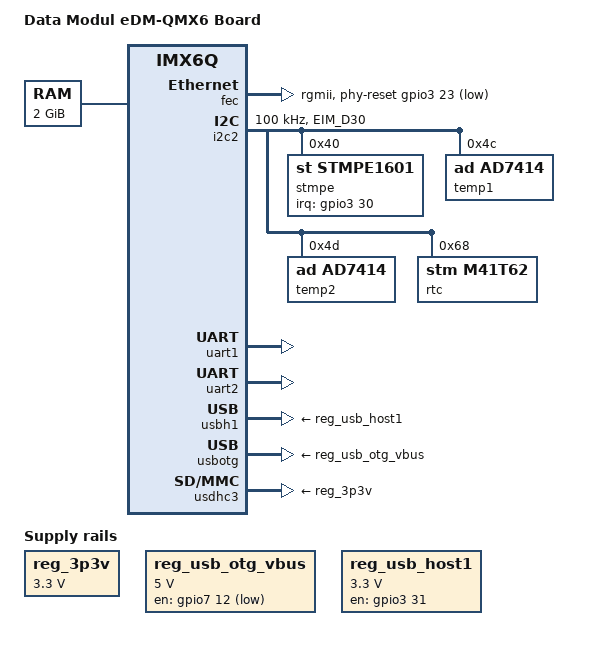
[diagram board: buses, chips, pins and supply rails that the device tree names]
/*
 * Copyright 2013 Data Modul AG
 *
 * The code contained herein is licensed under the GNU General Public
 * License. You may obtain a copy of the GNU General Public License
 * Version 2 or later at the following locations:
 *
 * http://www.opensource.org/licenses/gpl-license.html
 * http://www.gnu.org/copyleft/gpl.html
 */

/dts-v1/;

#include "imx6q.dtsi"

/ {
	model = "Data Modul eDM-QMX6 Board";
	compatible = "dmo,imx6q-edmqmx6", "fsl,imx6q";

	aliases {
		gpio7 = &stmpe_gpio;
	};

	memory {
		reg = <0x10000000 0x80000000>;
	};

	regulators {
		compatible = "simple-bus";
		#address-cells = <1>;
		#size-cells = <0>;

		reg_3p3v: regulator@0 {
			compatible = "regulator-fixed";
			reg = <0>;
			regulator-name = "3P3V";
			regulator-min-microvolt = <3300000>;
			regulator-max-microvolt = <3300000>;
			regulator-always-on;
		};

		reg_usb_otg_vbus: regulator@1 {
			compatible = "regulator-fixed";
			reg = <1>;
			regulator-name = "usb_otg_vbus";
			regulator-min-microvolt = <5000000>;
			regulator-max-microvolt = <5000000>;
			gpio = <&gpio7 12 0>;
		};

		reg_usb_host1: regulator@2 {
			compatible = "regulator-fixed";
			reg = <2>;
			regulator-name = "usb_host1_en";
			regulator-min-microvolt = <3300000>;
			regulator-max-microvolt = <3300000>;
			gpio = <&gpio3 31 0>;
			enable-active-high;
		};
	};
};

&fec {
	pinctrl-names = "default";
	pinctrl-0 = <&pinctrl_enet>;
	phy-mode = "rgmii";
	phy-reset-gpios = <&gpio3 23 0>;
	status = "okay";
};

&i2c2 {
	clock-frequency = <100000>;
	pinctrl-names = "default";
	pinctrl-0 = <&pinctrl_i2c2
		     &pinctrl_stmpe>;
	status = "okay";

	stmpe: stmpe1601@40 {
		compatible = "st,stmpe1601";
		reg = <0x40>;
		interrupts = <30 0>;
		interrupt-parent = <&gpio3>;

		stmpe_gpio: stmpe_gpio {
			compatible = "st,stmpe-gpio";
		};
	};

	temp1: ad7414@4c {
		compatible = "ad,ad7414";
		reg = <0x4c>;
	};

	temp2: ad7414@4d {
		compatible = "ad,ad7414";
		reg = <0x4d>;
	};

	rtc: m41t62@68 {
		compatible = "stm,m41t62";
		reg = <0x68>;
	};
};

&iomuxc {
	pinctrl-names = "default";
	pinctrl-0 = <&pinctrl_hog>;

	imx6q-dmo-edmqmx6 {
		pinctrl_hog: hoggrp {
			fsl,pins = <
				MX6QDL_PAD_EIM_A16__GPIO2_IO22 0x80000000
				MX6QDL_PAD_EIM_A17__GPIO2_IO21 0x80000000
			>;
		};

		pinctrl_enet: enetgrp {
			fsl,pins = <MX6QDL_ENET_PINGRP1>;
		};

		pinctrl_i2c2: i2c2grp {
			fsl,pins = <MX6QDL_I2C2_PINGRP3>;
		};

		pinctrl_stmpe: stmpegrp {
			fsl,pins = <MX6QDL_PAD_EIM_D30__GPIO3_IO30 0x80000000>;
		};

		pinctrl_uart1: uart1grp {
			fsl,pins = <MX6QDL_UART1_PINGRP2>;
		};

		pinctrl_uart2: uart2grp {
			fsl,pins = <MX6QDL_UART2_PINGRP1>;
		};

		pinctrl_usbotg: usbotggrp {
			fsl,pins = <MX6QDL_USBOTG_PINGRP1>;
		};

		pinctrl_usdhc3: usdhc3grp {
			fsl,pins = <MX6QDL_USDHC3_PINGRP2>;
		};
	};
};

&uart1 {
	pinctrl-names = "default";
	pinctrl-0 = <&pinctrl_uart1>;
	status = "okay";
};

&uart2 {
	pinctrl-names = "default";
	pinctrl-0 = <&pinctrl_uart2>;
	status = "okay";
};

&usbh1 {
	vbus-supply = <&reg_usb_host1>;
	disable-over-current;
	status = "okay";
};

&usbotg {
	vbus-supply = <&reg_usb_otg_vbus>;
	pinctrl-names = "default";
	pinctrl-0 = <&pinctrl_usbotg>;
	disable-over-current;
	status = "okay";
};

&usdhc3 {
	pinctrl-names = "default";
	pinctrl-0 = <&pinctrl_usdhc3>;
	vmmc-supply = <&reg_3p3v>;
	status = "okay";
};
